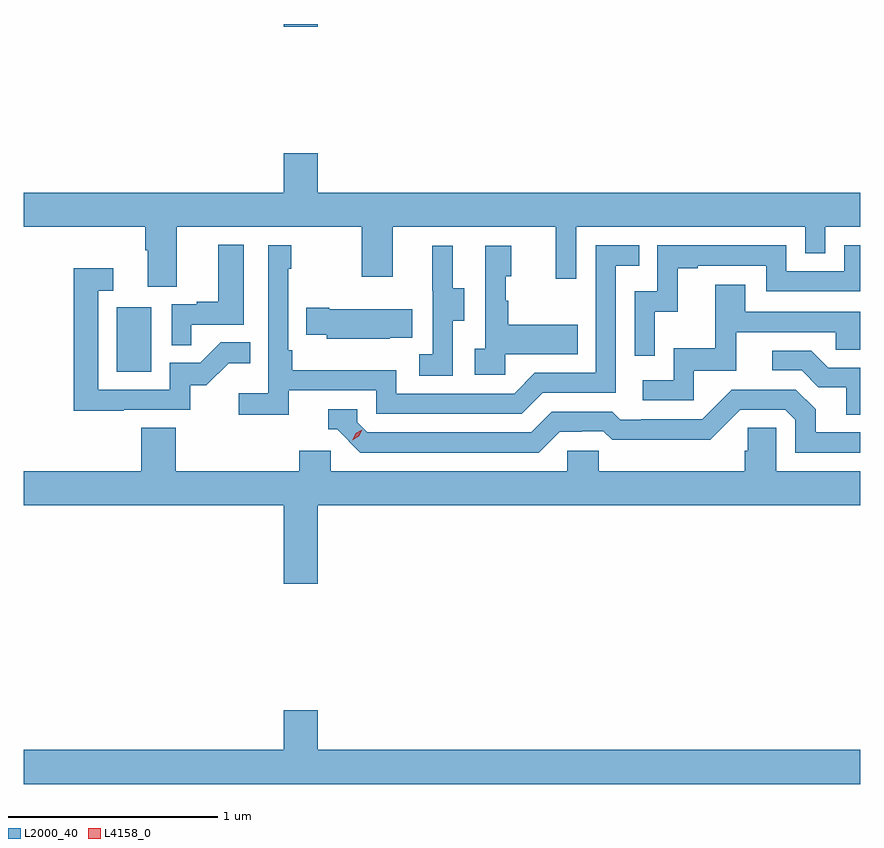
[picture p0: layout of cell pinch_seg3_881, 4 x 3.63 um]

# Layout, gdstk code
import gdstk
lib = gdstk.Library(unit=1e-6, precision=1e-09)
def R(c, l, rs):  # rectangles x0, y0, x1, y1
    for r in rs: c.add(gdstk.rectangle(r[:2], r[2:], *l))
def P(c, l, *ps):  # polygons
    for p in ps: c.add(gdstk.Polygon(p, *l))
L2000_40 = (2000, 40)
L4158_0 = (4158, 0)

pinch_seg3_881 = lib.new_cell('pinch_seg3_881')
R(pinch_seg3_881, L2000_40, [(847.526,704.22,847.69,704.527), (848.324,705.87,848.488,705.882)])
P(pinch_seg3_881, L2000_40, [(847.813,704.912),(848.698,704.912),(848.698,704.673),(848.845,704.673),(848.845,704.912),(849.626,704.912),(849.626,704.664),(849.723,704.664),(849.723,704.912),(850.818,704.912),(850.818,704.785),(850.914,704.785),(850.914,704.912),(851.081,704.912),(851.081,705.076),(848.488,705.076),(848.488,705.265),(848.324,705.265),(848.324,705.076),(847.081,705.076),(847.081,704.912),(847.661,704.912),(847.661,704.8),(847.673,704.8),(847.673,704.626),(847.813,704.626)],
  [(847.883,704.445),(848.134,704.445),(848.134,704.827),(848.012,704.827),(848.012,704.554),(847.909,704.554),(847.909,704.541),(847.788,704.541),(847.788,704.347),(847.883,704.347)],
  [(848.348,704.13),(848.766,704.13),(848.766,704.019),(849.463,704.019),(849.562,704.118),(849.912,704.118),(849.912,704.727),(850.025,704.727),(850.025,704.823),(849.816,704.823),(849.816,704.214),(849.525,704.214),(849.426,704.115),(848.862,704.115),(848.862,704.227),(848.366,704.227),(848.366,704.323),(848.346,704.323),(848.346,704.711),(848.359,704.711),(848.359,704.824),(848.25,704.824),(848.25,704.116),(848.109,704.116),(848.109,704.014),(848.348,704.014)],
  [(850.098,704.507),(850.208,704.507),(850.208,704.715),(850.303,704.715),(850.303,704.727),(850.632,704.727),(850.632,704.604),(851.081,704.604),(851.081,704.823),(851.004,704.823),(851.004,704.7),(850.728,704.7),(850.728,704.823),(850.11,704.823),(850.11,704.604),(850.002,704.604),(850.002,704.295),(850.098,704.295)],
  [(849.384,704.303),(849.731,704.303),(849.731,704.443),(849.397,704.443),(849.397,704.558),(849.387,704.558),(849.387,704.676),(849.412,704.676),(849.412,704.821),(849.288,704.821),(849.288,704.33),(849.237,704.33),(849.237,704.205),(849.384,704.205)],
  [(849.132,704.464),(849.187,704.464),(849.187,704.619),(849.133,704.619),(849.133,704.821),(849.035,704.821),(849.035,704.607),(849.036,704.607),(849.036,704.303),(848.973,704.303),(848.973,704.2),(849.132,704.2)],
  [(847.559,704.037),(847.878,704.037),(847.878,704.154),(847.954,704.154),(848.061,704.261),(848.165,704.261),(848.165,704.36),(848.022,704.36),(847.924,704.262),(847.779,704.262),(847.779,704.133),(847.437,704.133),(847.437,704.607),(847.51,704.607),(847.51,704.713),(847.321,704.713),(847.321,704.032),(847.559,704.032)],
  [(850.284,704.223),(850.489,704.223),(850.489,704.409),(850.963,704.409),(850.963,704.325),(851.081,704.325),(851.081,704.505),(850.531,704.505),(850.531,704.635),(850.387,704.635),(850.387,704.332),(850.188,704.332),(850.188,704.178),(850.041,704.178),(850.041,704.082),(850.284,704.082)],
  [(848.831,704.381),(848.939,704.381),(848.939,704.518),(848.542,704.518),(848.542,704.526),(848.431,704.526),(848.431,704.396),(848.529,704.396),(848.529,704.378),(848.831,704.378)],
  [(851.081,704.238),(850.927,704.238),(850.846,704.319),(850.659,704.319),(850.659,704.226),(850.8,704.226),(850.88,704.146),(851.015,704.146),(851.015,704.014),(851.081,704.014)],
  [(849.643,703.932),(849.75,703.932),(849.75,703.935),(849.853,703.935),(849.895,703.893),(850.128,703.893),(850.128,703.895),(850.364,703.895),(850.506,704.037),(850.722,704.037),(850.77,703.989),(850.77,703.833),(851.081,703.833),(851.081,703.929),(850.867,703.929),(850.867,704.039),(850.773,704.133),(850.467,704.133),(850.326,703.992),(850.033,703.992),(850.033,703.989),(849.934,703.989),(849.895,704.028),(849.606,704.028),(849.507,703.929),(848.724,703.929),(848.676,703.977),(848.676,704.04),(848.537,704.04),(848.537,703.944),(848.58,703.944),(848.691,703.833),(849.544,703.833)],
  [(848.488,703.58),(851.081,703.58),(851.081,703.744),(850.68,703.744),(850.68,703.952),(850.543,703.952),(850.543,703.842),(850.529,703.842),(850.529,703.744),(849.831,703.744),(849.831,703.842),(849.681,703.842),(849.681,703.744),(848.55,703.744),(848.55,703.842),(848.399,703.842),(848.399,703.744),(847.808,703.744),(847.808,703.952),(847.643,703.952),(847.643,703.744),(847.081,703.744),(847.081,703.58),(848.324,703.58),(848.324,703.206),(848.488,703.206)],
  [(851.081,702.412),(848.488,702.412),(848.488,702.601),(848.324,702.601),(848.324,702.412),(847.081,702.412),(847.081,702.248),(851.081,702.248)])
P(pinch_seg3_881, L4158_0, [(848.653,703.891),(848.653,703.891),(848.669,703.924),(848.699,703.943),(848.699,703.943),(848.699,703.943),(848.684,703.911),(848.653,703.891)])

lib.write_gds('pinch_seg3_881.gds')
